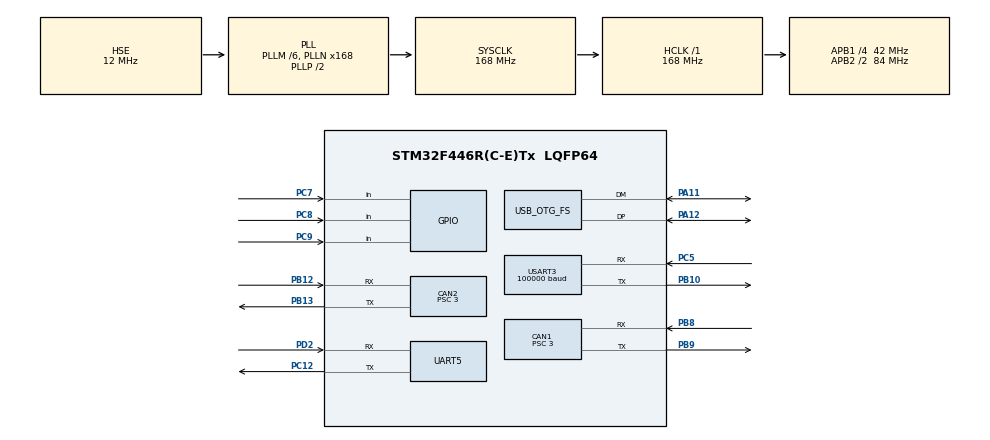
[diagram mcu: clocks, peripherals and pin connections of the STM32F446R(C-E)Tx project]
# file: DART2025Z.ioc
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CAN1.BS1=CAN_BS1_10TQ
CAN1.BS2=CAN_BS2_3TQ
CAN1.CalculateBaudRate=1000000
CAN1.CalculateTimeBit=1000
CAN1.CalculateTimeQuantum=71.42857142857143
CAN1.Prescaler=3
CAN2.BS1=CAN_BS1_10TQ
CAN2.BS2=CAN_BS2_3TQ
CAN2.CalculateBaudRate=1000000
CAN2.CalculateTimeBit=1000
CAN2.CalculateTimeQuantum=71.42857142857143
CAN2.Prescaler=3
Dma.Request0=USART3_RX
Dma.USART3_RX.0.Direction=DMA_PERIPH_TO_MEMORY
Dma.USART3_RX.0.FIFOMode=DMA_FIFOMODE_DISABLE
Dma.USART3_RX.0.Instance=DMA1_Stream1
Dma.USART3_RX.0.MemDataAlignment=DMA_MDATAALIGN_BYTE
Dma.USART3_RX.0.MemInc=DMA_MINC_ENABLE
Dma.USART3_RX.0.Mode=DMA_NORMAL
Dma.USART3_RX.0.PeriphDataAlignment=DMA_PDATAALIGN_BYTE
Dma.USART3_RX.0.PeriphInc=DMA_PINC_DISABLE
Dma.USART3_RX.0.Priority=DMA_PRIORITY_VERY_HIGH
Mcu.Family=STM32F4
Mcu.Name=STM32F446R(C-E)Tx
Mcu.Package=LQFP64
NVIC.CAN1_RX0_IRQn=true\:1\:0\:true\:false\:true\:true\:true\:true
NVIC.CAN1_TX_IRQn=true\:3\:0\:true\:false\:true\:true\:true\:true
NVIC.CAN2_RX0_IRQn=true\:2\:0\:true\:false\:true\:true\:true\:true
NVIC.CAN2_TX_IRQn=true\:3\:0\:true\:false\:true\:true\:true\:true
NVIC.DMA1_Stream1_IRQn=true\:0\:0\:false\:false\:true\:false\:true\:true
NVIC.OTG_FS_IRQn=true\:0\:0\:false\:false\:true\:false\:true\:true
NVIC.PriorityGroup=NVIC_PRIORITYGROUP_4
NVIC.UART5_IRQn=true\:0\:0\:false\:false\:true\:true\:true\:true
NVIC.USART3_IRQn=true\:0\:0\:false\:false\:true\:true\:true\:true
PA11.Mode=Device_Only
PA11.Signal=USB_OTG_FS_DM
PA12.Mode=Device_Only
PA12.Signal=USB_OTG_FS_DP
PA13.Mode=Serial_Wire
PA13.Signal=SYS_JTMS-SWDIO
PA14.Mode=Serial_Wire
PA14.Signal=SYS_JTCK-SWCLK
PB10.Mode=Asynchronous
PB10.Signal=USART3_TX
PB12.Mode=CAN_Activate
PB12.Signal=CAN2_RX
PB13.Mode=CAN_Activate
PB13.Signal=CAN2_TX
PB8.Mode=CAN_Activate
PB8.Signal=CAN1_RX
PB9.Mode=CAN_Activate
PB9.Signal=CAN1_TX
PC12.Mode=Asynchronous
PC12.Signal=UART5_TX
PC5.Mode=Asynchronous
PC5.Signal=USART3_RX
PC7.GPIO_PuPd=GPIO_PULLUP
PC7.Signal=GPIO_Input
PC8.GPIO_PuPd=GPIO_PULLUP
PC8.Signal=GPIO_Input
PC9.GPIO_PuPd=GPIO_PULLUP
PC9.Signal=GPIO_Input
PD2.Mode=Asynchronous
PD2.Signal=UART5_RX
PH0-OSC_IN.Mode=HSE-External-Oscillator
PH0-OSC_IN.Signal=RCC_OSC_IN
PH1-OSC_OUT.Mode=HSE-External-Oscillator
PH1-OSC_OUT.Signal=RCC_OSC_OUT
ProjectManager.HeapSize=0x200
ProjectManager.StackSize=0x400
ProjectManager.TargetToolchain=MDK-ARM V5.32
RCC.AHBFreq_Value=168000000
RCC.APB1CLKDivider=RCC_HCLK_DIV4
RCC.APB1Freq_Value=42000000
RCC.APB1TimFreq_Value=84000000
RCC.APB2CLKDivider=RCC_HCLK_DIV2
RCC.APB2Freq_Value=84000000
RCC.APB2TimFreq_Value=168000000
RCC.CortexFreq_Value=168000000
RCC.HCLKFreq_Value=168000000
RCC.HSE_VALUE=12000000
RCC.PLLM=6
RCC.PLLN=168
RCC.PLLQ=7
RCC.PLLSourceVirtual=RCC_PLLSOURCE_HSE
RCC.SYSCLKFreq_VALUE=168000000
RCC.SYSCLKSource=RCC_SYSCLKSOURCE_PLLCLK
RCC.USBFreq_Value=48000000
RCC.VCOOutputFreq_Value=336000000
UART5.VirtualMode=Asynchronous
USART3.BaudRate=100000
USART3.VirtualMode=VM_ASYNC
USB_DEVICE.CLASS_NAME_FS=CDC
USB_DEVICE.VirtualMode-CDC_FS=Cdc
USB_DEVICE.VirtualModeFS=Cdc_FS
USB_OTG_FS.VirtualMode=Device_Only
VP_USB_DEVICE_VS_USB_DEVICE_CDC_FS.Mode=CDC_FS
board=custom

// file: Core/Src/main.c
/* USER CODE BEGIN Header */
/**
  ******************************************************************************
  * @file           : main.c
  * @brief          : Main program body
  ******************************************************************************
  * @attention
  *
  * Copyright (c) 2025 STMicroelectronics.
  * All rights reserved.
  *
  * This software is licensed under terms that can be found in the LICENSE file
  * in the root directory of this software component.
  * If no LICENSE file comes with this software, it is provided AS-IS.
  *
  ******************************************************************************
  */
/* USER CODE END Header */
#include "main.h"
#include "can.h"
#include "dma.h"
#include "usart.h"
#include "usb_device.h"
#include "gpio.h"

/* USER CODE BEGIN Includes */
#include "remote_control.h"
#include "motor.h"
#include "DWT.h"
#include "motorUsr.h"
#include "struct_typedef.h"
#include "bsp_can.h"
#include "dart.h"
#include "minipc_protocol.h"
#include "referee.h"
/* USER CODE END Includes */

void SystemClock_Config(void);
/* USER CODE BEGIN PFP */
void taskInit(){//只需要执行一次的初始化函数，在系统上电时执行
  //DWT计时器初始化
  DWT_init();
  DWTRefreshTimeMs();//测试成功
  //遥控器初始化
  remote_control_init();//测试成功
  //裁判系统初始化

  //电机和电机pid初始化
  //PID
  fp32 motor_speed_pid_3508[3]={10,0.001,0};
  fp32 motor_pos_pid_3508[3] = {1,0,1};
  fp32 motor_speed_pid_2006[3]={10,0,0};
  fp32 motor_pos_pid_2006[3] = {1,0,1};
  fp32 motor_speed_pid_6020[3]={65,1.0f,0};
  fp32 motor_pos_pid_6020[3] = {70,0.8f,0};
  fp32 motor_pos_pixel_pid_6020[3]={5,0,0};
  motorInit(&D2006_motor1, D2006_MOTOR1_ID, 0x200, 0xFFF, 0x200);//推杆电机
  motorInit(&D2006_motor2, D2006_MOTOR2_ID, 0x200, 0xFFF, 0x200);//弹夹电机
  motorInit(&D3508_motor1, D3508_MOTOR1_ID, 0x200, 0xFFF, 0x200);//摩擦轮
  motorInit(&D3508_motor2, D3508_MOTOR2_ID, 0x200, 0xFFF, 0x200);//摩擦轮
  motorInit(&D6020_motor1, D6020_MOTOR1_ID, 0x2FE, 0x2FF, 0x204);//YAW电机
  pid_init(&D6020_motor1.motor_speed_pid, motor_speed_pid_6020, 24000, 24000);  //YAW电机速度PID
  pid_init(&D6020_motor1.motor_pos_pid, motor_pos_pid_6020, 400, 400);  //YAW电机位置PID
  pid_init(&D6020_motor1.motor_pos_pixel_pid,motor_pos_pixel_pid_6020,400,400);//yaw电机视觉调整用位置pid
  pid_init(&D2006_motor1.motor_speed_pid, motor_speed_pid_2006, 16000, 16000); //2006电机速度PID
  pid_init(&D2006_motor2.motor_speed_pid, motor_speed_pid_2006, 16000, 16000); //2006电机速度PID
  pid_init(&D2006_motor1.motor_pos_pid, motor_pos_pid_2006, 10000, 10000); //2006电机位置PID
  pid_init(&D2006_motor2.motor_pos_pid, motor_pos_pid_2006, 10000, 10000); //2006电机位置PID
  pid_init(&D3508_motor1.motor_speed_pid, motor_speed_pid_3508, 215, 16000); //3508电机速度PID
  pid_init(&D3508_motor2.motor_speed_pid, motor_speed_pid_3508, 215, 16000); //3508电机速度PID
  pid_init(&D3508_motor1.motor_pos_pid, motor_pos_pid_3508, 10000, 10000); //3508电机速位置PID
  pid_init(&D3508_motor2.motor_pos_pid, motor_pos_pid_3508, 10000, 10000); //3508电机速位置PID
  //can初始化
  can_filter_init();//对can1 can2的过滤器进行配置
  //飞镖创建、发射任务设置

  roket BYD4={.shootSpeed=3100,.yawPlace=970,.yawDelta=0};
  roket BB={.shootSpeed=3200,.yawPlace=860,.yawDelta=0};
  roket DD={.shootSpeed=3000,.yawPlace=870,.yawDelta=0};
	roket WC2={.shootSpeed=3100,.yawPlace=970,.yawDelta=0};

  roket SJ={.shootSpeed=3130,.yawPlace=970,.yawDelta=120,.shootSpeedBase=3775,.yawPlaceBase=3136,.yawDeltaBase=176};//+5
  roket PP={.shootSpeed=3100,.yawPlace=970,.yawDelta=120,.shootSpeedBase=3775,.yawPlaceBase=3099,.yawDeltaBase=163};//+5
  roket NC={.shootSpeed=3080,.yawPlace=970,.yawDelta=77,.shootSpeedBase=3775,.yawPlaceBase=3145,.yawDeltaBase=176};//+5
  roket NH={.shootSpeed=3070,.yawPlace=940,.yawDelta=65,.shootSpeedBase=3775,.yawPlaceBase=3091,.yawDeltaBase=157};//+10

  roket HN={.shootSpeed=3140,.yawPlace=970,.yawDelta=37,.shootSpeedBase=3815,.yawPlaceBase=2700,.yawDeltaBase=185};//3140

  roket GD={.shootSpeed=3140,.yawPlace=970,.yawDelta=37,.shootSpeedBase=3775,.yawPlaceBase=3150,.yawDeltaBase=181};//3140
  roket HRL={.shootSpeed=3175,.yawPlace=970,.yawDelta=73,.shootSpeedBase=3775,.yawPlaceBase=3149,.yawDeltaBase=181};//3175
  roket ZJ={.shootSpeed=3185,.yawPlace=970,.yawDelta=75,.shootSpeedBase=3790,.yawPlaceBase=3070,.yawDeltaBase=150};
  roket ZTX={.shootSpeed=3185,.yawPlace=970,.yawDelta=57,.shootSpeedBase=3775,.yawPlaceBase=2944,.yawDeltaBase=105};

  roket tet1={.shootSpeed=500,.yawPlace=500,.yawDelta=37,.shootSpeedBase=4000,.yawPlaceBase=2700,.yawDeltaBase=200};//偏左摩擦轮速度慢
  roket tet2={.shootSpeed=3175,.yawPlace=1500,.yawDelta=73,.shootSpeedBase=1000,.yawPlaceBase=700,.yawDeltaBase=-200};//偏右摩擦轮速度块
  roket tet3={.shootSpeed=3500,.yawPlace=2500,.yawDelta=75,.shootSpeedBase=4000,.yawPlaceBase=2700,.yawDeltaBase=200};//偏左摩擦轮速度很快
  roket tet4={.shootSpeed=3175,.yawPlace=300,.yawDelta=57,.shootSpeedBase=1000,.yawPlaceBase=700,.yawDeltaBase=-200};//偏右摩擦轮速度慢
  //shootTaskInit(&tet1,&tet2,&tet3,&tet4);//按照1、2、3、4发射顺序填入飞镖
	  shootTaskInit(&SJ,&PP,&NC,&NH);//按照1、2、3、4发射顺序填入飞镖
  //shootTaskInit(&GD,&HRL,&ZJ,&ZTX);//按照1、2、3、4发射顺序填入飞镖
  // shootTaskInit(&HN,&ZJ,&ZTX,&ZTX);
	//推杆电机和yaw电机初始化，方便限制电机动作
  while(!pushYawInit()){DWTRefreshTimeMs();//更新毫秒计时
    dartSysStateCheck();//各类限位状态查询
    checkControlMode();//遥控器选择控制模式
    minipc_upgrade(&minipc);//更新miniPC数据
    yawPlaceRefresh();//更新yaw电机数据
    pushPlaceRefreshSpeedy();//更新push电机数据
		calAndSendMotor();
		HAL_Delay(1);}
  //裁判系统接收初始化uart5
  HAL_UARTEx_ReceiveToIdle_IT(&huart5,rfDataBuf,sizeof(rfDataBuf));
  //其它初始化

}
/* USER CODE END PFP */

int main(void)
{

  /* MCU Configuration--------------------------------------------------------*/

  /* Reset of all peripherals, Initializes the Flash interface and the Systick. */
  HAL_Init();

  /* Configure the system clock */
  SystemClock_Config();

  /* Initialize all configured peripherals */
  MX_GPIO_Init();
  MX_DMA_Init();
  MX_CAN1_Init();
  MX_CAN2_Init();
  MX_USART3_UART_Init();
  MX_USB_DEVICE_Init();
  MX_UART5_Init();
  /* USER CODE BEGIN 2 */
	taskInit();
  /* USER CODE END 2 */

  /* Infinite loop */
  /* USER CODE BEGIN WHILE */
  while (1)
  {
    checkCangmenState();//弹舱门状态检测
    DWTRefreshTimeMs();//更新毫秒计时
    dartSysStateCheck();//各类限位状态查询
    checkControlMode();//遥控器选择控制模式
    minipc_upgrade(&minipc);//更新miniPC数据
    yawPlaceRefresh();//更新yaw电机数据
    pushPlaceRefreshSpeedy();//更新push电机数据
    switch (mode)
    {
      case manual:manualTask();break;
			case semiAuto:semiAutoTask();break;
      case fullAuto:fullAutoTask();break;
      default:break;
    }
    calAndSendMotor();
    HAL_Delay(1);
    /* USER CODE END WHILE */

  }
}

void SystemClock_Config(void)
{
  RCC_OscInitTypeDef RCC_OscInitStruct = {0};
  RCC_ClkInitTypeDef RCC_ClkInitStruct = {0};

  /** Configure the main internal regulator output voltage
  */
  __HAL_RCC_PWR_CLK_ENABLE();
  __HAL_PWR_VOLTAGESCALING_CONFIG(PWR_REGULATOR_VOLTAGE_SCALE1);

  /** Initializes the RCC Oscillators according to the specified parameters
  * in the RCC_OscInitTypeDef structure.
  */
  RCC_OscInitStruct.OscillatorType = RCC_OSCILLATORTYPE_HSE;
  RCC_OscInitStruct.HSEState = RCC_HSE_ON;
  RCC_OscInitStruct.PLL.PLLState = RCC_PLL_ON;
  RCC_OscInitStruct.PLL.PLLSource = RCC_PLLSOURCE_HSE;
  RCC_OscInitStruct.PLL.PLLM = 6;
  RCC_OscInitStruct.PLL.PLLN = 168;
  RCC_OscInitStruct.PLL.PLLP = RCC_PLLP_DIV2;
  RCC_OscInitStruct.PLL.PLLQ = 7;
  RCC_OscInitStruct.PLL.PLLR = 2;
  if (HAL_RCC_OscConfig(&RCC_OscInitStruct) != HAL_OK)
  {
    Error_Handler();
  }

  /** Initializes the CPU, AHB and APB buses clocks
  */
  RCC_ClkInitStruct.ClockType = RCC_CLOCKTYPE_HCLK|RCC_CLOCKTYPE_SYSCLK
                              |RCC_CLOCKTYPE_PCLK1|RCC_CLOCKTYPE_PCLK2;
  RCC_ClkInitStruct.SYSCLKSource = RCC_SYSCLKSOURCE_PLLCLK;
  RCC_ClkInitStruct.AHBCLKDivider = RCC_SYSCLK_DIV1;
  RCC_ClkInitStruct.APB1CLKDivider = RCC_HCLK_DIV4;
  RCC_ClkInitStruct.APB2CLKDivider = RCC_HCLK_DIV2;

  if (HAL_RCC_ClockConfig(&RCC_ClkInitStruct, FLASH_LATENCY_5) != HAL_OK)
  {
    Error_Handler();
  }
}

void Error_Handler(void)
{
  __disable_irq();
  while (1)
  {
  }
}
